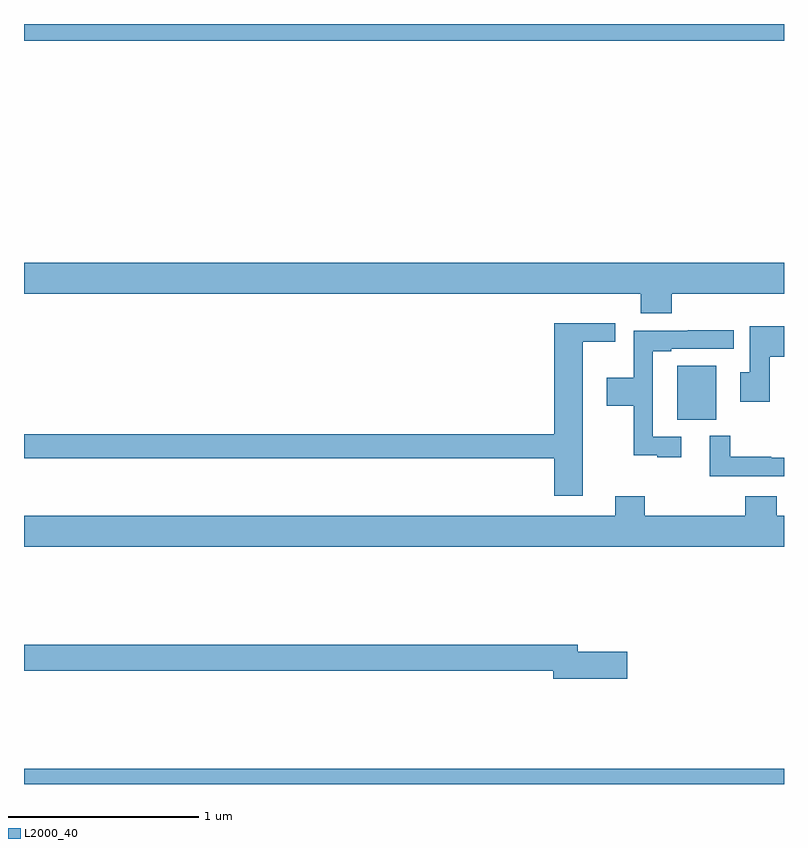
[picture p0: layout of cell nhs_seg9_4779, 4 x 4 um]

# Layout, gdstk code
import gdstk
lib = gdstk.Library(unit=1e-6, precision=1e-09)
def R(c, l, rs):  # rectangles x0, y0, x1, y1
    for r in rs: c.add(gdstk.rectangle(r[:2], r[2:], *l))
def P(c, l, *ps):  # polygons
    for p in ps: c.add(gdstk.Polygon(p, *l))
L2000_40 = (2000, 40)

nhs_seg9_4779 = lib.new_cell('nhs_seg9_4779')
R(nhs_seg9_4779, L2000_40, [(387,1200.5,391,1200.58), (390.437,1202.417,390.643,1202.701), (387,1204.412,391,1204.5)])
P(nhs_seg9_4779, L2000_40, [(390.41,1203.08),(391,1203.08),(391,1203.244),(387,1203.244),(387,1203.08),(390.245,1203.08),(390.245,1202.978),(390.41,1202.978)],
  [(389.941,1202.828),(390.112,1202.828),(390.112,1202.926),(389.792,1202.926),(389.792,1202.342),(387,1202.342),(387,1202.214),(389.792,1202.214),(389.792,1202.016),(389.941,1202.016)],
  [(390.925,1202.75),(391,1202.75),(391,1202.908),(390.821,1202.908),(390.821,1202.667),(390.771,1202.667),(390.771,1202.511),(390.925,1202.511)],
  [(390.46,1202.328),(390.309,1202.328),(390.309,1202.778),(390.406,1202.778),(390.406,1202.79),(390.736,1202.79),(390.736,1202.888),(390.493,1202.888),(390.493,1202.886),(390.208,1202.886),(390.208,1202.638),(390.066,1202.638),(390.066,1202.491),(390.208,1202.491),(390.208,1202.231),(390.332,1202.231),(390.332,1202.22),(390.46,1202.22)],
  [(391,1202.217),(390.932,1202.217),(390.932,1202.222),(390.718,1202.222),(390.718,1202.332),(390.608,1202.332),(390.608,1202.121),(391,1202.121)],
  [(391,1201.912),(390.962,1201.912),(390.962,1202.014),(390.797,1202.014),(390.797,1201.912),(390.266,1201.912),(390.266,1202.014),(390.113,1202.014),(390.113,1201.912),(387,1201.912),(387,1201.748),(391,1201.748)],
  [(390.175,1201.196),(389.914,1201.196),(389.914,1201.232),(387,1201.232),(387,1201.096),(389.786,1201.096),(389.786,1201.054),(390.175,1201.054)])

lib.write_gds('nhs_seg9_4779.gds')
